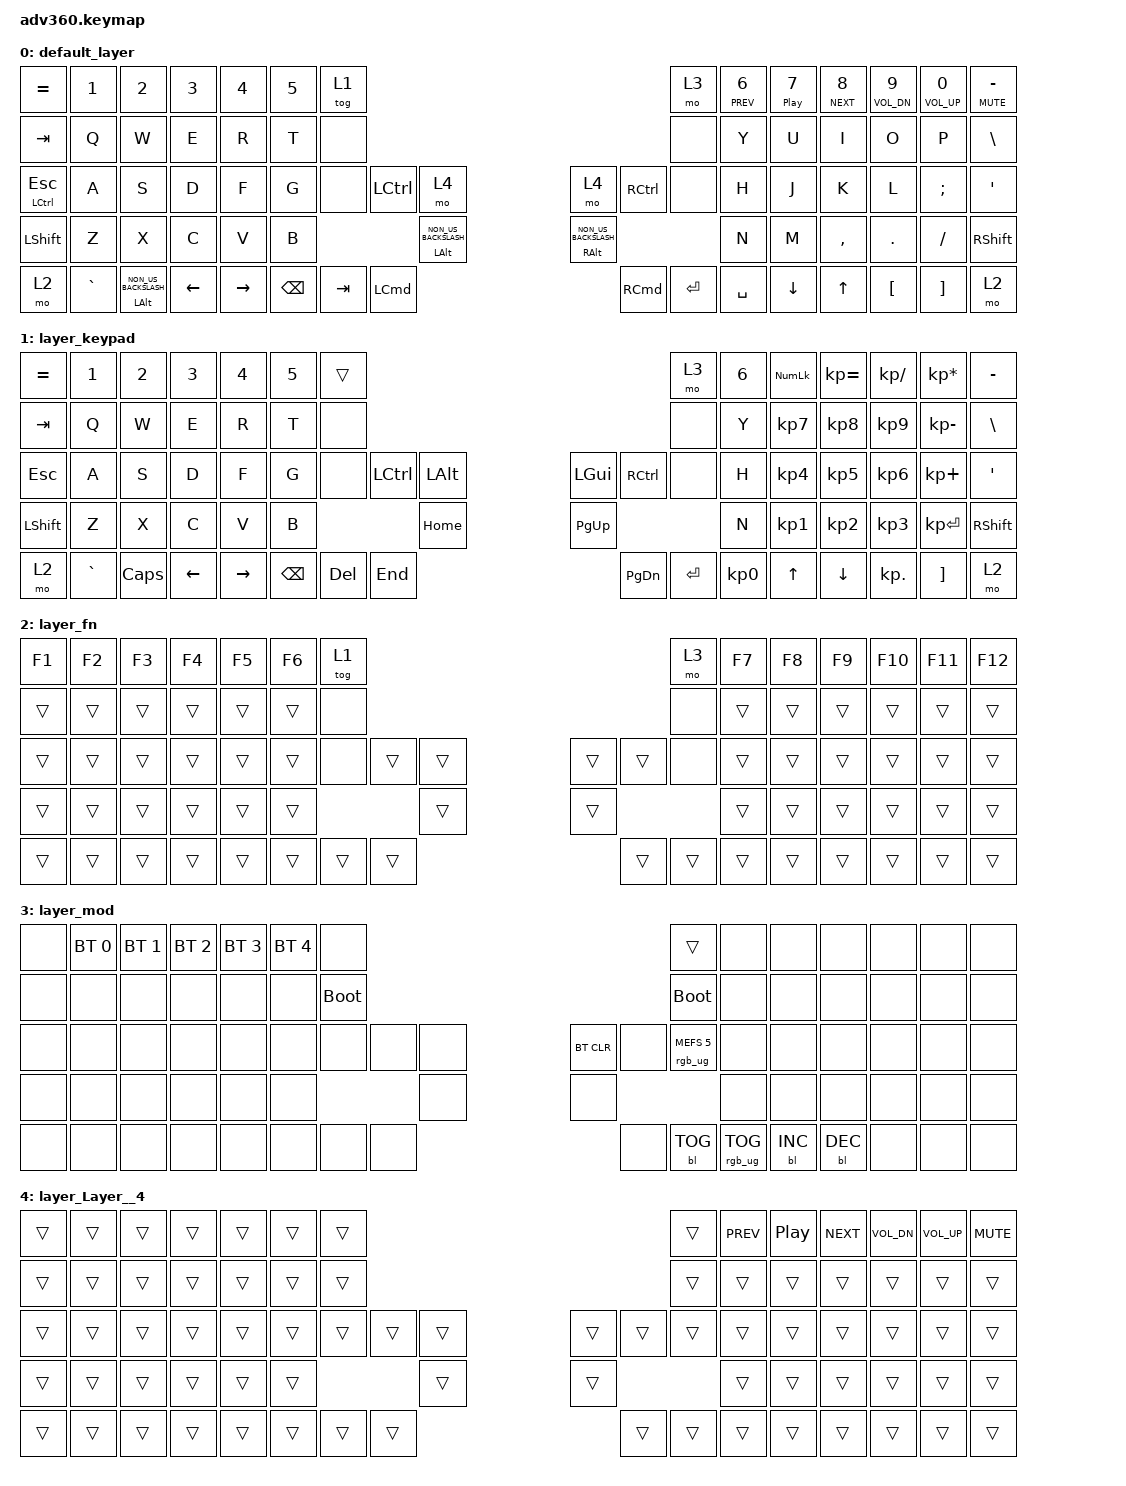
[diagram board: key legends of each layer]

/*
 * Copyright (c) 2020 The ZMK Contributors
 *
 * SPDX-License-Identifier: MIT
 */


/* THIS FILE WAS GENERATED!
 *
 * This file was generated automatically. You may or may not want to
 * edit it directly.
 */

#include <behaviors.dtsi>
#include <dt-bindings/zmk/keys.h>
#include <dt-bindings/zmk/bt.h>
#include <dt-bindings/zmk/rgb.h>
#include <dt-bindings/zmk/backlight.h>

/ {
  behaviors {
    #include "macros.dtsi"
    #include "version.dtsi"

    hm: homerow_mods {
        compatible = "zmk,behavior-hold-tap";
        label = "HOMEROW_MODS";
        #binding-cells = <2>;
        tapping-term-ms = <200>;
        quick_tap_ms = <175>;
        flavor = "tap-preferred";
        bindings = <&kp>, <&kp>;
    };
  };

    keymap {
        compatible = "zmk,keymap";


        default_layer {
            bindings = <
     &kp EQUAL     &kp N1                         &kp N2    &kp N3     &kp N4  &kp N5              &tog 1                                                                                                           &mo 3  &mt C_PREV N6  &mt C_PP N7  &mt C_NEXT N8  &mt C_VOL_DN N9  &mt C_VOL_UP N0  &mt C_MUTE MINUS
       &kp TAB      &kp Q                          &kp W     &kp E      &kp R   &kp T               &none                                                                                                           &none          &kp Y        &kp U          &kp I            &kp O            &kp P          &kp BSLH
 &mt LCTRL ESC      &kp A                          &kp S     &kp D      &kp F   &kp G               &none  &kp LCTRL                          &mo 4                                           &mo 4  &kp RCTRL      &none          &kp H        &kp J          &kp K            &kp L         &kp SEMI           &kp SQT
     &kp LSHFT      &kp Z                          &kp X     &kp C      &kp V   &kp B                                 &mt LEFT_ALT NON_US_BACKSLASH                  &mt RIGHT_ALT NON_US_BACKSLASH                                &kp N        &kp M      &kp COMMA          &kp DOT         &kp FSLH         &kp RSHFT
         &mo 2  &kp GRAVE  &mt LEFT_ALT NON_US_BACKSLASH  &kp LEFT  &kp RIGHT                    &kp BSPC    &kp TAB                       &kp LCMD                                        &kp RCMD  &kp ENTER  &kp SPACE                    &kp DOWN         &kp UP         &kp LBKT         &kp RBKT             &mo 2
            >;
        };

        layer_keypad {
            bindings = <
 &kp EQUAL     &kp N1    &kp N2    &kp N3     &kp N4  &kp N5              &trans                                                                 &mo 3  &kp N6  &kp KP_NUM  &kp KP_EQUAL  &kp KP_DIVIDE  &kp KP_MULTIPLY  &kp MINUS
   &kp TAB      &kp Q     &kp W     &kp E      &kp R   &kp T               &none                                                                 &none   &kp Y   &kp KP_N7     &kp KP_N8      &kp KP_N9     &kp KP_MINUS   &kp BSLH
   &kp ESC      &kp A     &kp S     &kp D      &kp F   &kp G               &none  &kp LCTRL  &kp LALT                   &kp LGUI  &kp RCTRL      &none   &kp H   &kp KP_N4     &kp KP_N5      &kp KP_N6      &kp KP_PLUS    &kp SQT
 &kp LSHFT      &kp Z     &kp X     &kp C      &kp V   &kp B                                 &kp HOME                  &kp PG_UP                         &kp N   &kp KP_N1     &kp KP_N2      &kp KP_N3     &kp KP_ENTER  &kp RSHFT
     &mo 2  &kp GRAVE  &kp CAPS  &kp LEFT  &kp RIGHT                    &kp BSPC    &kp DEL   &kp END                  &kp PG_DN  &kp ENTER  &kp KP_N0              &kp UP      &kp DOWN     &kp KP_DOT         &kp RBKT      &mo 2
            >;
        };

        layer_fn {
            bindings = <
 &kp F1  &kp F2  &kp F3  &kp F4  &kp F5  &kp F6            &tog 1                                                   &mo 3  &kp F7  &kp F8  &kp F9  &kp F10  &kp F11  &kp F12
 &trans  &trans  &trans  &trans  &trans  &trans             &none                                                   &none  &trans  &trans  &trans   &trans   &trans   &trans
 &trans  &trans  &trans  &trans  &trans  &trans             &none  &trans  &trans                  &trans  &trans   &none  &trans  &trans  &trans   &trans   &trans   &trans
 &trans  &trans  &trans  &trans  &trans  &trans                            &trans                  &trans                  &trans  &trans  &trans   &trans   &trans   &trans
 &trans  &trans  &trans  &trans  &trans                    &trans  &trans  &trans                  &trans  &trans  &trans          &trans  &trans   &trans   &trans   &trans
            >;
        };

        layer_mod {
            bindings = <
  &none  &bt BT_SEL 0  &bt BT_SEL 1  &bt BT_SEL 2  &bt BT_SEL 3  &bt BT_SEL 4                  &none                                                                          &trans   &none       &none       &none   &none   &none   &none
  &none         &none         &none         &none         &none         &none            &bootloader                                                                     &bootloader   &none       &none       &none   &none   &none   &none
  &none         &none         &none         &none         &none         &none                  &none   &none   &none                  &bt BT_CLR       &none  &rgb_ug RGB_MEFS_CMD 5   &none       &none       &none   &none   &none   &none
  &none         &none         &none         &none         &none         &none                                  &none                       &none                                       &none       &none       &none   &none   &none   &none
  &none         &none         &none         &none         &none                                &none   &none   &none                       &none  &bl BL_TOG         &rgb_ug RGB_TOG          &bl BL_INC  &bl BL_DEC   &none   &none   &none
            >;
        };

        layer_Layer__4 {
            bindings = <
 &trans  &trans  &trans  &trans  &trans  &trans            &trans                                                  &trans  &kp C_PREV  &kp C_PP  &kp C_NEXT  &kp C_VOL_DN  &kp C_VOL_UP  &kp C_MUTE
 &trans  &trans  &trans  &trans  &trans  &trans            &trans                                                  &trans      &trans    &trans      &trans        &trans        &trans      &trans
 &trans  &trans  &trans  &trans  &trans  &trans            &trans  &trans  &trans                  &trans  &trans  &trans      &trans    &trans      &trans        &trans        &trans      &trans
 &trans  &trans  &trans  &trans  &trans  &trans                            &trans                  &trans                      &trans    &trans      &trans        &trans        &trans      &trans
 &trans  &trans  &trans  &trans  &trans                    &trans  &trans  &trans                  &trans  &trans  &trans                &trans      &trans        &trans        &trans      &trans
            >;
        };

    };
};
